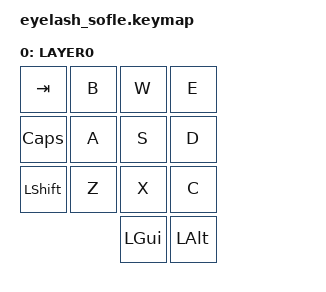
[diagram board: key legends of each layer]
#define ZMK_POINTING_DEFAULT_MOVE_VAL 1200  // 600
#define ZMK_POINTING_DEFAULT_SCRL_VAL 25   // 10

#include <behaviors.dtsi>
#include <dt-bindings/zmk/bt.h>
#include <dt-bindings/zmk/keys.h>
#include <dt-bindings/zmk/outputs.h>


/ {


    behaviors {
    };



    keymap {
        compatible = "zmk,keymap";

        layer0 {
            bindings = <
&kp TAB     &kp B      &kp W         &kp E
&kp CAPS    &kp A      &kp S         &kp D
&kp LSHFT   &kp Z      &kp X         &kp C
                       &kp LEFT_GUI  &kp LEFT_ALT
            >;

            display-name = "LAYER0";
        };




    };
};
